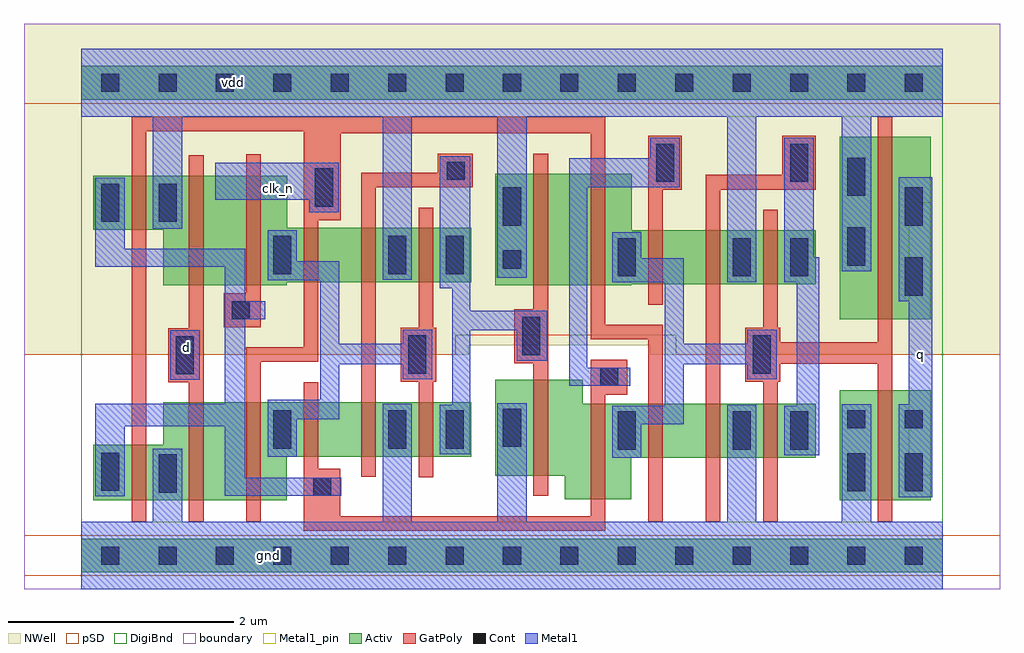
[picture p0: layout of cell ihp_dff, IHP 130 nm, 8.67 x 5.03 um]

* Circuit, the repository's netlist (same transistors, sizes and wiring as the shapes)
* ------------------------------------------------------
*
*		Copyright 2025 IHP PDK Authors
*
*		Licensed under the Apache License, Version 2.0 (the "License");
*		you may not use this file except in compliance with the License.
*		You may obtain a copy of the License at
*
*		   https://www.apache.org/licenses/LICENSE-2.0
*
*		Unless required by applicable law or agreed to in writing, software
*		distributed under the License is distributed on an "AS IS" BASIS,
*		WITHOUT WARRANTIES OR CONDITIONS OF ANY KIND, either express or implied.
*		See the License for the specific language governing permissions and
*		limitations under the License.
*
*		Generated on Thu Jul 30 11:38:32 2026
*
* ------------------------------------------------------
* Flattened from RSC_IHPSG13_DFNQX2; unchanged W/L/m.
.subckt ihp_dff clk_n d q vdd gnd
Xinternal_MN0 q internal_QIN_SL gnd gnd sg13_lv_nmos w=980.00n l=130.00n m=1
Xinternal_MN10 internal_QIN_SL internal_CNN internal_net21 gnd sg13_lv_nmos w=850.00n l=130.00n m=1
Xinternal_MN11 internal_net21 internal_QI_MS gnd gnd sg13_lv_nmos w=850.00n l=130.00n m=1
Xinternal_MN7 internal_net30 internal_QI_MS gnd gnd sg13_lv_nmos w=480.00n l=130.00n m=1
Xinternal_MN6 internal_QIN_MS internal_CNN internal_net30 gnd sg13_lv_nmos w=480.00n l=130.00n m=1
Xinternal_MN3 internal_QI_MS internal_QIN_MS gnd gnd sg13_lv_nmos w=480.00n l=130.00n m=1
Xinternal_MN12 internal_CNN clk_n gnd gnd sg13_lv_nmos w=495.000n l=130.00n m=1
Xinternal_MN9 internal_net37 d gnd gnd sg13_lv_nmos w=870.00n l=130.00n m=1
Xinternal_MN8 internal_QIN_MS clk_n internal_net37 gnd sg13_lv_nmos w=870.00n l=130.00n m=1
Xinternal_MN5 internal_QIN_SL clk_n internal_net25 gnd sg13_lv_nmos w=480.00n l=130.00n m=1
Xinternal_MN4 internal_net25 internal_QI_SL gnd gnd sg13_lv_nmos w=480.00n l=130.00n m=1
Xinternal_MN2 internal_QI_SL internal_QIN_SL gnd gnd sg13_lv_nmos w=480.00n l=130.00n m=1
Xinternal_MP0 q internal_QIN_SL vdd vdd sg13_lv_pmos w=1.62u l=130.00n m=1
Xinternal_MP6 internal_QI_MS internal_QIN_MS vdd vdd sg13_lv_pmos w=480.00n l=130.00n m=1
Xinternal_MP3 internal_QIN_SL internal_CNN internal_net27 vdd sg13_lv_pmos w=480.00n l=130.00n m=1
Xinternal_MP2 internal_net27 internal_QI_SL vdd vdd sg13_lv_pmos w=480.00n l=130.00n m=1
Xinternal_MP10 internal_net36 d vdd vdd sg13_lv_pmos w=975.000n l=130.00n m=1
Xinternal_MP11 internal_QIN_MS internal_CNN internal_net36 vdd sg13_lv_pmos w=975.000n l=130.00n m=1
Xinternal_MP4 internal_net32 internal_QI_MS vdd vdd sg13_lv_pmos w=480.00n l=130.00n m=1
Xinternal_MP5 internal_QIN_MS clk_n internal_net32 vdd sg13_lv_pmos w=480.00n l=130.00n m=1
Xinternal_MP7 internal_QI_SL internal_QIN_SL vdd vdd sg13_lv_pmos w=480.00n l=130.00n m=1
Xinternal_MP12 internal_CNN clk_n vdd vdd sg13_lv_pmos w=480.00n l=130.00n m=1
Xinternal_MP9 internal_QIN_SL clk_n internal_net19 vdd sg13_lv_pmos w=990.00n l=130.00n m=1
Xinternal_MP8 internal_net19 internal_QI_MS vdd vdd sg13_lv_pmos w=990.00n l=130.00n m=1
.ends ihp_dff

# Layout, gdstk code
import gdstk
lib = gdstk.Library(unit=1e-6, precision=1e-09)
def R(c, l, rs):  # rectangles x0, y0, x1, y1
    for r in rs: c.add(gdstk.rectangle(r[:2], r[2:], *l))
def A(c, l, x, y, w, h, nx, ny, dx, dy):  # array of equal rectangles
    R(c, l, [(x+i*dx, y+j*dy, x+i*dx+w, y+j*dy+h) for i in range(nx) for j in range(ny)])
def P(c, l, *ps):  # polygons
    for p in ps: c.add(gdstk.Polygon(p, *l))
Activ = (1, 0)
GatPoly = (5, 0)
Cont = (6, 0)
Metal1 = (8, 0)
Metal1_pin = (8, 2)
pSD = (14, 0)
DigiBnd = (16, 0)
NWell = (31, 0)
boundary = (189, 4)

ihp_dff = lib.new_cell('ihp_dff')
R(ihp_dff, Activ, [(0.51,0.15,8.16,0.45), (7.245,0.79,8.055,1.77), (7.245,2.4,8.055,4.02), (0.51,4.35,8.16,4.65)])
P(ihp_dff, Activ, [(0.615,0.79),(0.615,1.285),(1.235,1.285),(1.235,1.66),(3.975,1.66),(3.975,1.18),(2.335,1.18),(2.335,0.79)],
  [(4.805,0.8),(4.805,1.01),(4.185,1.01),(4.185,1.86),(4.965,1.86),(4.965,1.65),(7.035,1.65),(7.035,1.17),(5.395,1.17),(5.395,0.8)],
  [(1.235,2.7),(1.235,3.195),(0.615,3.195),(0.615,3.675),(2.34,3.675),(2.34,3.21),(3.975,3.21),(3.975,2.73),(2.335,2.73),(2.335,2.7)],
  [(4.185,2.7),(4.185,3.69),(5.4,3.69),(5.4,3.19),(7.035,3.19),(7.035,2.71),(5.395,2.71),(5.395,2.7)])
P(ihp_dff, GatPoly, [(2.485,0.52),(2.485,1.84),(2.615,1.84),(2.615,1.07),(2.81,1.07),(2.81,0.65),(5.035,0.65),(5.035,2.04),(5.36,2.04),(5.36,1.73),(5.165,1.73),(5.165,0.52)],
  [(3.505,0.995),(3.505,1.845),(3.345,1.845),(3.345,2.325),(3.505,2.325),(3.505,3.39),(3.635,3.39),(3.635,2.325),(3.66,2.325),(3.66,1.845),(3.635,1.845),(3.635,0.995)],
  [(1.465,0.6),(1.465,1.84),(1.28,1.84),(1.28,2.32),(1.465,2.32),(1.465,3.855),(1.595,3.855),(1.595,0.6)],
  [(1.775,2.33),(1.775,2.63),(1.975,2.63),(1.975,3.865),(2.105,3.865),(2.105,2.33)],
  [(2.995,1),(2.995,3.7),(3.675,3.7),(3.675,3.87),(3.985,3.87),(3.985,3.57),(3.125,3.57),(3.125,1)],
  [(4.525,0.83),(4.525,2.01),(4.355,2.01),(4.355,2.49),(4.525,2.49),(4.525,3.87),(4.655,3.87),(4.655,0.83)],
  [(5.545,2.53),(5.545,4.03),(5.845,4.03),(5.845,3.55),(5.675,3.55),(5.675,2.53)],
  [(6.055,0.6),(6.055,3.685),(6.735,3.685),(6.735,4.03),(7.035,4.03),(7.035,3.55),(6.185,3.55),(6.185,0.6)],
  [(0.955,0.6),(0.955,4.2),(5.165,4.2),(5.165,2.35),(5.675,2.35),(5.675,0.6),(5.545,0.6),(5.545,2.22),(5.035,2.22),(5.035,4.05),(2.815,4.05),(2.815,3.28),(2.615,3.28),(2.615,2.02),(2.105,2.02),(2.105,0.6),(1.975,0.6),(1.975,2.15),(2.485,2.15),(2.485,4.07),(1.085,4.07),(1.085,0.6)],
  [(6.565,0.6),(6.565,1.845),(6.405,1.845),(6.405,2.325),(6.565,2.325),(6.565,3.37),(6.695,3.37),(6.695,2.325),(6.72,2.325),(6.72,2.195),(7.585,2.195),(7.585,4.2),(7.715,4.2),(7.715,0.6),(7.585,0.6),(7.585,2.005),(6.72,2.005),(6.72,1.845),(6.695,1.845),(6.695,0.6)])
A(ihp_dff, Cont, 0.685, 0.22, 0.16, 0.16, 15, 2, 0.51, 4.2)
R(ihp_dff, Cont, [(2.57,0.83,2.73,0.99), (1.195,0.86,1.355,1.2), (7.315,0.87,7.475,1.21), (7.825,0.87,7.985,1.21), (0.685,0.875,0.845,1.215), (5.275,1.24,5.435,1.58), (6.295,1.24,6.455,1.58), (6.805,1.24,6.965,1.58), (2.215,1.25,2.375,1.59), (3.235,1.25,3.395,1.59), (3.745,1.25,3.905,1.59), (4.255,1.265,4.415,1.605), (7.315,1.43,7.475,1.59), (7.825,1.43,7.985,1.59), (5.12,1.81,5.28,1.97), (1.35,1.91,1.51,2.25), (3.415,1.915,3.575,2.255), (6.475,1.915,6.635,2.255), (4.425,2.08,4.585,2.42), (1.845,2.4,2.005,2.56), (7.825,2.61,7.985,2.95), (5.275,2.78,5.435,3.12), (6.295,2.78,6.455,3.12), (6.805,2.78,6.965,3.12), (2.215,2.8,2.375,3.14), (3.235,2.8,3.395,3.14), (3.745,2.8,3.905,3.14), (4.255,2.85,4.415,3.01), (7.315,2.875,7.475,3.215), (4.255,3.23,4.415,3.57), (7.825,3.23,7.985,3.57), (0.685,3.265,0.845,3.605), (1.195,3.265,1.355,3.605), (2.585,3.4,2.745,3.74), (7.315,3.495,7.475,3.835), (5.615,3.62,5.775,3.96), (6.805,3.62,6.965,3.96), (3.755,3.64,3.915,3.8)])
R(ihp_dff, Metal1, [(0.51,0,8.16,0.6), (1.145,0.6,1.405,1.25), (3.185,0.6,3.445,1.65), (4.205,0.6,4.465,1.655), (6.245,0.6,6.505,1.64), (7.265,0.6,7.525,1.645), (7.77,0.82,8.07,1.645), (0.635,0.825,0.895,1.45), (1.785,0.83,2.82,0.99), (1.785,0.99,1.965,1.45), (5.225,1.17,5.485,1.465), (2.165,1.18,2.425,1.51), (6.755,1.19,7.065,1.63), (3.695,1.2,3.965,1.64), (0.635,1.45,1.965,1.65), (5.225,1.465,5.86,1.63), (2.165,1.51,2.8,1.685), (5.69,1.63,5.86,2), (6.865,1.63,7.065,2.73), (3.805,1.64,3.965,2.3), (7.86,1.645,8.07,2.56), (1.785,1.65,1.965,2.4), (2.63,1.685,2.8,2), (4.845,1.81,5.385,1.97), (1.3,1.86,1.56,2.3), (3.365,1.865,3.625,2), (6.425,1.865,6.685,2), (4.845,1.97,5.005,3.57), (2.63,2,3.625,2.18), (5.69,2,6.685,2.18), (4.375,2.03,4.65,2.3), (2.63,2.18,2.8,2.745), (3.365,2.18,3.625,2.305), (5.69,2.18,5.86,2.73), (6.425,2.18,6.685,2.305), (3.805,2.3,4.65,2.475), (1.785,2.4,2.145,2.56), (3.805,2.475,3.965,2.675), (1.785,2.56,1.965,2.865), (7.77,2.56,8.07,3.66), (3.695,2.675,3.965,3.845), (5.225,2.73,5.86,2.94), (6.245,2.73,6.505,4.2), (6.755,2.73,7.065,2.95), (2.165,2.745,2.8,2.915), (3.185,2.75,3.445,4.2), (4.205,2.77,4.465,4.2), (7.265,2.825,7.525,4.2), (0.635,2.865,1.965,3.025), (2.165,2.915,2.425,3.19), (5.225,2.94,5.485,3.17), (6.755,2.95,7.015,4.01), (0.635,3.025,0.895,3.655), (1.145,3.205,1.405,4.2), (2.535,3.35,2.795,3.46), (1.7,3.46,2.795,3.79), (4.845,3.57,5.825,3.83), (5.565,3.83,5.825,4.01), (0.51,4.2,8.16,4.8)])
R(ihp_dff, Metal1_pin, [(0.51,0,8.16,0.6), (7.86,1.015,8.07,3.44), (1.3,1.86,1.56,2.3), (1.7,3.46,2.795,3.79), (0.51,4.2,8.16,4.8)])
R(ihp_dff, pSD, [(0,0.12,8.67,0.48)])
P(ihp_dff, pSD, [(0,2.085),(0,4.32),(8.67,4.32),(8.67,2.085),(5.79,2.085),(5.79,2.255),(3.835,2.255),(3.835,2.085)])
R(ihp_dff, DigiBnd, [(0.51,0,8.16,4.8)])
P(ihp_dff, NWell, [(0,2.085),(0,5.025),(8.67,5.025),(8.67,2.085),(5.56,2.085),(5.56,2.17),(3.95,2.17),(3.95,2.085)])
R(ihp_dff, boundary, [(0,0,8.67,5.025)])
ihp_dff.add(gdstk.Label('vdd', (1.86,4.5), layer=8, texttype=25))
ihp_dff.add(gdstk.Label('gnd', (2.175,0.305), layer=8, texttype=25))
ihp_dff.add(gdstk.Label('d', (1.445,2.145), layer=8, texttype=25))
ihp_dff.add(gdstk.Label('q', (7.96,2.09), layer=8, texttype=25))
ihp_dff.add(gdstk.Label('clk_n', (2.26,3.565), layer=8, texttype=25))

lib.write_gds('ihp_dff.gds')
